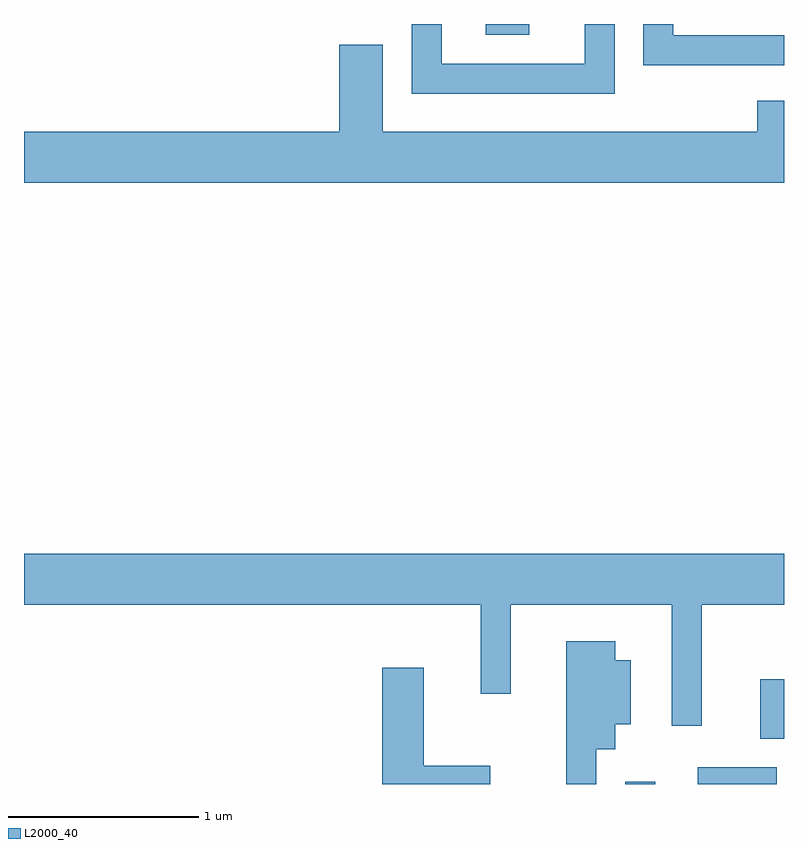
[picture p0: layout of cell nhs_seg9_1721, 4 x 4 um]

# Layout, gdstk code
import gdstk
lib = gdstk.Library(unit=1e-6, precision=1e-09)
def R(c, l, rs):  # rectangles x0, y0, x1, y1
    for r in rs: c.add(gdstk.rectangle(r[:2], r[2:], *l))
def P(c, l, *ps):  # polygons
    for p in ps: c.add(gdstk.Polygon(p, *l))
L2000_40 = (2000, 40)

nhs_seg9_1721 = lib.new_cell('nhs_seg9_1721')
R(nhs_seg9_1721, L2000_40, [(238.776,1986.432,238.934,1986.443), (239.156,1986.432,239.574,1986.519), (239.486,1986.671,239.611,1986.983), (238.041,1990.376,238.269,1990.432)])
P(nhs_seg9_1721, L2000_40, [(239.611,1990.374),(239.029,1990.374),(239.029,1990.432),(238.871,1990.432),(238.871,1990.216),(239.611,1990.216)],
  [(238.719,1990.432),(238.561,1990.432),(238.561,1990.224),(237.809,1990.224),(237.809,1990.432),(237.651,1990.432),(237.651,1990.066),(238.719,1990.066)],
  [(239.611,1990.029),(239.471,1990.029),(239.471,1989.864),(237.499,1989.864),(237.499,1990.324),(237.271,1990.324),(237.271,1989.864),(235.611,1989.864),(235.611,1989.596),(239.611,1989.596)],
  [(239.179,1987.376),(239.611,1987.376),(239.611,1987.644),(235.611,1987.644),(235.611,1987.376),(238.016,1987.376),(238.016,1986.908),(238.174,1986.908),(238.174,1987.376),(239.021,1987.376),(239.021,1986.738),(239.179,1986.738)],
  [(238.624,1986.616),(238.724,1986.616),(238.724,1986.746),(238.804,1986.746),(238.804,1987.084),(238.724,1987.084),(238.724,1987.184),(238.466,1987.184),(238.466,1986.432),(238.624,1986.432)],
  [(238.064,1986.529),(237.714,1986.529),(237.714,1987.044),(237.496,1987.044),(237.496,1986.432),(238.064,1986.432)])

lib.write_gds('nhs_seg9_1721.gds')
